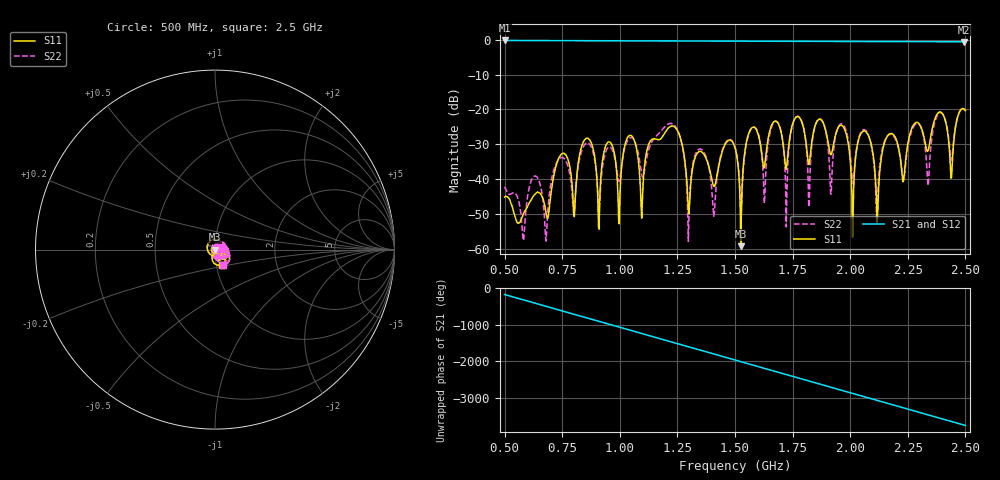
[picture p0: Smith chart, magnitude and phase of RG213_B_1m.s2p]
!Agilent N9923A: A.05.17
!Date: Sunday, 01 January 2006 12:48:15
!Model: N9923A
!Serial: MY50371189
!CHECKSUM:0108742152
!Correction: S11(ON Q)S21(ON Q)S12(ON Q)S22(ON Q)
!S2P File: Measurements:S11,S21,S12,S22:
# Hz S DB R 50
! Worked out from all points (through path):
!   801 points, 500 MHz to 2.5 GHz, reference 50 ohm
!   highest |S21| = -0.18 dB at 500 MHz (marker M1); lowest = -0.6 dB at 2.495 GHz (marker M2)
!   group delay of S21, straight-line fit = 4.97 ns
!   lowest |S11| = -59.3 dB at 1.525 GHz (marker M3), VSWR 1.00, Z = 50 - j0.105 ohm
!   |S11| at or under -10 dB: start of sweep to end of sweep
!   |S22| runs from -58.0 to -19.8 dB; largest |S21 - S12| = 0.0046
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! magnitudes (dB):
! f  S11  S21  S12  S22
! 500 MHz  -45.2  -0.2  -0.2  -42.3
! 680 MHz  -49.8  -0.2  -0.2  -57.9
! 835 MHz  -30.5  -0.3  -0.2  -31.9
! 910 MHz  -54.4  -0.3  -0.3  -49.4
! 1.167 GHz  -28.7  -0.3  -0.3  -27.0
! 1.25 GHz  -26.1  -0.3  -0.3  -25.9
! 1.298 GHz  -49.1  -0.3  -0.3  -58.0
! 1.5 GHz  -31.0  -0.4  -0.4  -30.8
! 1.525 GHz  -59.3  -0.4  -0.4  -48.6
! 1.575 GHz  -25.2  -0.4  -0.4  -25.2
! 1.627 GHz  -36.6  -0.4  -0.4  -47.0
! 1.673 GHz  -23.4  -0.4  -0.4  -23.5
! 1.722 GHz  -37.2  -0.4  -0.4  -53.8
! 1.835 GHz  -28.6  -0.4  -0.4  -29.4
! 1.968 GHz  -24.8  -0.5  -0.5  -24.3
! 2.013 GHz  -50.9  -0.5  -0.5  -41.3
! 2.065 GHz  -26.3  -0.5  -0.5  -25.9
! 2.118 GHz  -52.4  -0.5  -0.5  -48.8
! 2.167 GHz  -27.2  -0.5  -0.5  -27.3
! 2.44 GHz  -39.6  -0.5  -0.5  -34.6
! 2.495 GHz  -19.9  -0.6  -0.6  -20.0
! 2.5 GHz  -20.3  -0.6  -0.6  -20.4
